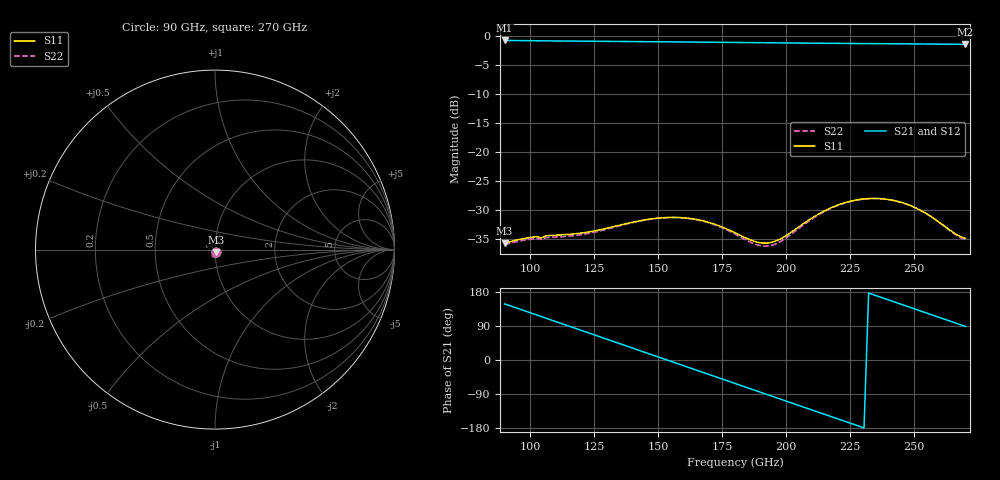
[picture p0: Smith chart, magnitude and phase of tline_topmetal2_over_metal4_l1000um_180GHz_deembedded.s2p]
! Created with skrf 2.2.0 (http://scikit-rf.org).
# GHz S DB R 50.0
! Port[1] = P1
! Port[2] = P2
!freq dBS11 angS11 dBS21 angS21 dBS12 angS12 dBS22 angS22
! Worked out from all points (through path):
!   101 points, 90 GHz to 270 GHz, reference 50 ohm
!   highest |S21| = -0.75 dB at 90 GHz (marker M1); lowest = -1.4 dB at 270 GHz (marker M2)
!   group delay of S21, straight-line fit = 6.47 ps
!   lowest |S11| = -35.7 dB at 90 GHz (marker M3), VSWR 1.03, Z = 50.6 - j1.55 ohm
!   |S11| at or under -10 dB: start of sweep to end of sweep
!   |S22| runs from -36.2 to -28.0 dB; largest |S21 - S12| = 1e-13
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90  -35.73 -69.5  -0.75 148.1  -0.75 148.1  -35.97 -70.9
99  -34.78 -70.6  -0.79 127.1  -0.79 127.1  -35.08 -71.4
106.2  -34.42 -72.5  -0.82 110.3  -0.82 110.3  -34.74 -72.8
113.4  -34.23 -73.2  -0.85 93.5  -0.85 93.5  -34.55 -73.0
120.6  -33.92 -72.7  -0.88 76.7  -0.88 76.7  -34.19 -71.9
127.8  -33.34 -72.4  -0.90 59.9  -0.90 59.9  -33.52 -71.3
136.8  -32.40 -74.5  -0.93 38.9  -0.93 38.9  -32.49 -73.5
144  -31.75 -78.5  -0.96 22.1  -0.96 22.1  -31.78 -77.8
151.2  -31.34 -84.1  -0.98 5.3  -0.98 5.3  -31.35 -83.7
158.4  -31.29 -90.4  -1.01 -11.5  -1.01 -11.5  -31.30 -90.4
165.6  -31.67 -96.5  -1.04 -28.3  -1.04 -28.3  -31.71 -97.0
180  -33.91 -101.4  -1.10 -61.9  -1.10 -61.9  -34.13 -102.7
187.2  -35.33 -94.1  -1.13 -78.7  -1.13 -78.7  -35.76 -95.0
194.4  -35.55 -78.9  -1.16 -95.4  -1.16 -95.4  -36.08 -78.0
201.6  -33.92 -66.8  -1.19 -112.2  -1.19 -112.2  -34.28 -64.6
210.6  -31.22 -64.9  -1.22 -133.1  -1.22 -133.1  -31.38 -62.6
219.6  -29.22 -72.3  -1.25 -154.1  -1.25 -154.1  -29.29 -70.4
226.8  -28.30 -81.2  -1.28 -170.8  -1.28 -170.8  -28.33 -79.6
234  -27.99 -91.0  -1.30 172.4  -1.30 172.4  -28.00 -89.7
241.2  -28.27 -100.6  -1.32 155.7  -1.32 155.7  -28.27 -99.6
255.6  -30.83 -113.9  -1.37 122.2  -1.37 122.2  -30.84 -113.4
270  -34.84 -94.9  -1.42 88.6  -1.42 88.6  -35.05 -94.6
